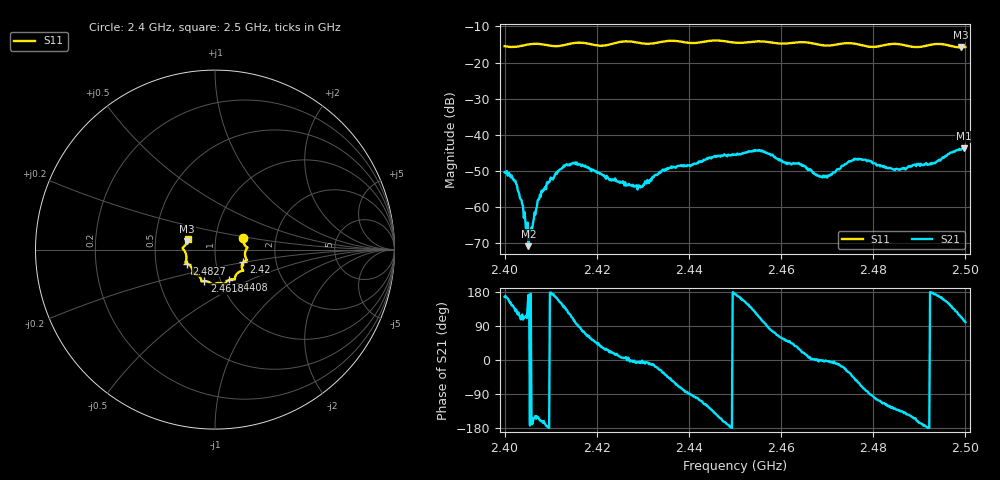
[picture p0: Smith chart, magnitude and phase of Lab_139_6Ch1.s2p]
# Hz S RI R 50
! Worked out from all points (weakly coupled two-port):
!   601 points, 2.4 GHz to 2.5 GHz, reference 50 ohm
!   highest |S21| = -43.67 dB at 2.4997 GHz (marker M1); lowest = -70.8 dB at 2.4052 GHz (marker M2)
!   lowest |S11| = -15.8 dB at 2.499 GHz (marker M3), VSWR 1.39, Z = 36.5 + j3.54 ohm
!   |S11| at or under -10 dB: start of sweep to end of sweep
!   S12 and S22 are empty: the file has one direction only
!   S11 on the Smith chart (normalised r, x): 2.4 GHz: 1.36, +0.17; 2.42 GHz: 1.36, -0.19; 2.4408 GHz: 1.10, -0.38; 2.4618 GHz: 0.84, -0.30; 2.4827 GHz: 0.72, -0.12; 2.5 GHz: 0.73, +0.09
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2.4e9  0.1564 0.0624  -0.00297 0.000702  0 0  0 0
2.4025e9  0.1619 0.0317  -0.00144 0.00154  0 0  0 0
2.405167e9  0.1773 0.0138  -0.000286 4.06e-05  0 0  0 0
2.407667e9  0.1801 0.00934  -0.00139 -0.000553  0 0  0 0
2.409667e9  0.1717 -0.00304  -0.00221 -2.09e-05  0 0  0 0
2.413e9  0.1696 -0.0411  -0.00269 0.00248  0 0  0 0
2.416667e9  0.1782 -0.0595  0.000628 0.00364  0 0  0 0
2.42e9  0.1579 -0.0694  0.0021 0.00214  0 0  0 0
2.429333e9  0.1419 -0.1211  0.00196 -0.000154  0 0  0 0
2.433333e9  0.1119 -0.1522  0.00268 -0.00113  0 0  0 0
2.440833e9  0.0788 -0.1686  -0.000314 -0.00385  0 0  0 0
2.45e9  0.0278 -0.186  -0.00532 0.000604  0 0  0 0
2.4555e9  -0.0129 -0.1959  -0.00208 0.00567  0 0  0 0
2.461833e9  -0.0599 -0.1751  0.0026 0.00309  0 0  0 0
2.466667e9  -0.0769 -0.1684  0.00315 0.000179  0 0  0 0
2.47e9  -0.0951 -0.1425  0.00256 -0.00013  0 0  0 0
2.476333e9  -0.126 -0.1294  0.00278 -0.00369  0 0  0 0
2.482667e9  -0.1571 -0.0778  -0.00161 -0.00309  0 0  0 0
2.483333e9  -0.1614 -0.0763  -0.00187 -0.00291  0 0  0 0
2.499e9  -0.1545 0.0472  -0.00244 0.00573  0 0  0 0
2.499667e9  -0.1523 0.0571  -0.00155 0.00637  0 0  0 0
2.5e9  -0.1517 0.0617  -0.00114 0.00639  0 0  0 0
